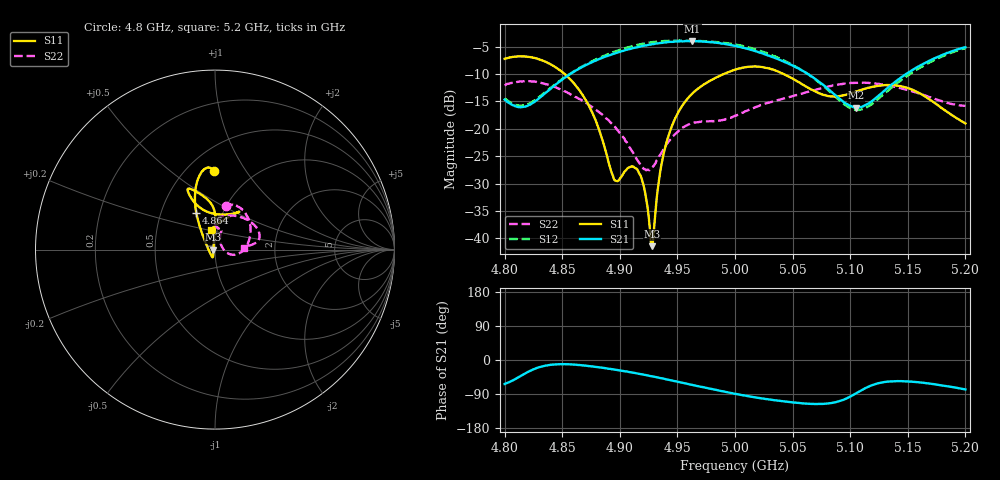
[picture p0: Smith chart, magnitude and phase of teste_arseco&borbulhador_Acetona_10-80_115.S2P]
! Network Analyzer HP8722D
! Hewlett-Packard
! Data name: Linha & Wilkinson
! Saver's name: Rodrigo Anjos
! Comments: Teste da utilização de aquisição
! continua pelo VNA HP8722D
! Time and date: 25/4/2025 16:13
!  Frequency  S11  S21  S12  S22
# HZ  S  MA R 50
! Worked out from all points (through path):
!   401 points, 4.8 GHz to 5.2 GHz, reference 50 ohm
!   highest |S21| = -3.98 dB at 4.963 GHz (marker M1); lowest = -16.1 dB at 5.105 GHz (marker M2)
!   lowest |S11| = -41.4 dB at 4.928 GHz (marker M3), VSWR 1.02, Z = 49.2 + j0.0017 ohm
!   |S11| at or under -10 dB: 4.852 GHz to 4.99 GHz (138.2 MHz wide, 2.81 % of centre); 5.042 GHz to end of sweep
!   |S22| runs from -27.6 to -11.3 dB; largest |S21 - S12| = 1.2
!   S11 on the Smith chart (normalised r, x): 4.8 GHz: 0.68, +0.73; 4.864 GHz: 0.75, +0.33; 5.2 GHz: 0.94, +0.21
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4.8e9  0.4353 90.7  0.1848 -63.3  0.1894 70.1  0.249 76.2
4.82e9  0.4533 96.9  0.1621 -31.8  0.1678 98.9  0.2715 61.2
4.844e9  0.3657 106.9  0.2515 -11.7  0.2549 119.1  0.24 35.2
4.864e9  0.2315 116.8  0.3507 -13.0  0.3544 121.0  0.189 11.6
4.867e9  0.2087 118.6  0.3649 -14.0  0.3688 120.5  0.182 8.4
4.88e9  0.1122 128.9  0.4243 -18.6  0.4344 118.1  0.1473 -5.3
4.896e9  0.03361 -165.9  0.4882 -25.4  0.5074 113.0  0.1035 -16.0
4.909e9  0.04477 -109.3  0.5352 -32.1  0.5618 107.5  0.06647 -14.2
4.917e9  0.03878 -105.4  0.5619 -36.5  0.5898 103.2  0.04865 -0.1
4.922e9  0.02602 -110.0  0.5768 -39.5  0.6025 100.6  0.04265 17.6
4.928e9  0.008473 179.9  0.592 -43.0  0.6174 96.8  0.04439 41.4
4.934e9  0.03362 101.0  0.6036 -46.9  0.6296 93.1  0.05597 58.6
4.939e9  0.06494 94.0  0.6142 -50.0  0.6346 89.9  0.06783 65.8
4.945e9  0.1045 90.6  0.6213 -54.1  0.6381 86.2  0.0822 69.8
4.963e9  0.2098 90.6  0.6321 -65.7  0.6349 74.6  0.1124 71.0
5e9  0.3462 109.1  0.5715 -89.1  0.5903 50.7  0.1317 88.2
5.03e9  0.3551 115.0  0.4637 -104.3  0.4791 33.7  0.1738 85.2
5.067e9  0.2269 105.2  0.2984 -115.8  0.2961 23.6  0.2223 56.8
5.105e9  0.2192 65.4  0.1561 -88.2  0.1487 55.0  0.2629 25.3
5.134e9  0.2507 57.3  0.2428 -56.7  0.2281 88.8  0.2474 12.2
5.169e9  0.1852 70.2  0.4192 -62.2  0.404 84.7  0.1944 6.8
5.2e9  0.1117 101.0  0.5544 -77.7  0.5446 69.9  0.1618 3.6
